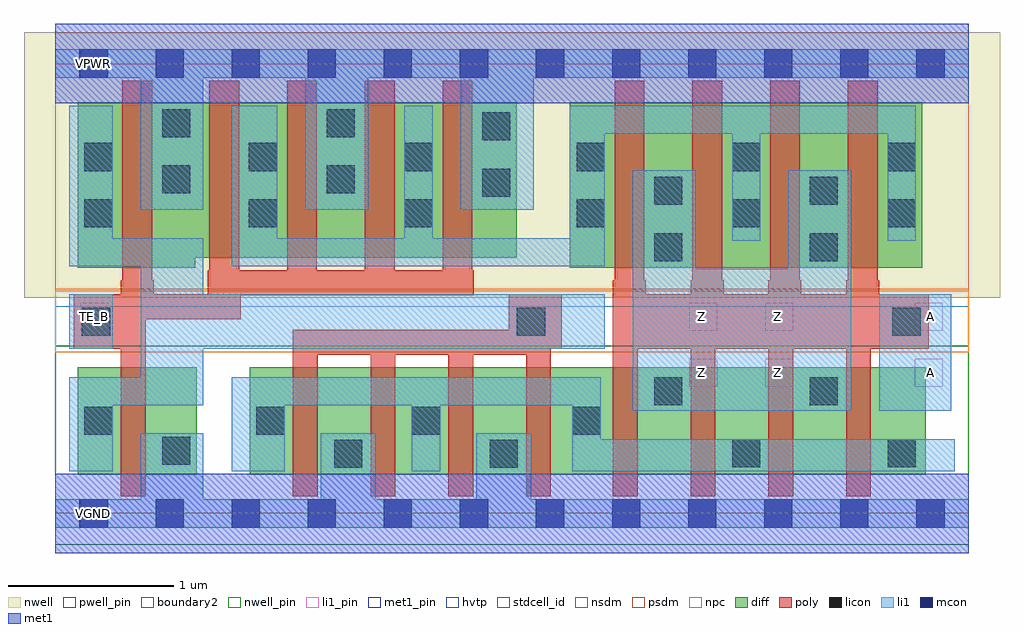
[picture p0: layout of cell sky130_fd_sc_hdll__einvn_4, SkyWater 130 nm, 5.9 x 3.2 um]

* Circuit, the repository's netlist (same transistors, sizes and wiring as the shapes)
* Copyright 2020 The SkyWater PDK Authors
*
* Licensed under the Apache License, Version 2.0 (the "License");
* you may not use this file except in compliance with the License.
* You may obtain a copy of the License at
*
*     https://www.apache.org/licenses/LICENSE-2.0
*
* Unless required by applicable law or agreed to in writing, software
* distributed under the License is distributed on an "AS IS" BASIS,
* WITHOUT WARRANTIES OR CONDITIONS OF ANY KIND, either express or implied.
* See the License for the specific language governing permissions and
* limitations under the License.
*
* SPDX-License-Identifier: Apache-2.0

.SUBCKT sky130_fd_sc_hdll__einvn_4 A TE_B VGND VNB VPB VPWR Z
*.PININFO A:I TE_B:I VGND:I VNB:I VPB:I VPWR:I Z:O
MMN0 Z A sndA VNB sky130_fd_pr__nfet_01v8 m=4 w=0.65U l=0.15U mult=1 sa=0.265 sb=0.265
+ sd=0.28 area=0.063 perim=1.14
MMN1 sndA TE VGND VNB sky130_fd_pr__nfet_01v8 m=4 w=0.65U l=0.15U mult=1 sa=0.265
+ sb=0.265 sd=0.28 area=0.063 perim=1.14
MMIN1 TE TE_B VGND VNB sky130_fd_pr__nfet_01v8 m=1 w=0.65U l=0.15U mult=1 sa=0.265
+ sb=0.265 sd=0.28 area=0.063 perim=1.14
MMP0 VPWR TE_B sndTEB VPB sky130_fd_pr__pfet_01v8_hvt m=4 w=0.94U l=0.18U mult=1
+ sa=0.265 sb=0.265 sd=0.28 area=0.063 perim=1.14
MMP1 sndTEB A Z VPB sky130_fd_pr__pfet_01v8_hvt m=4 w=1.0U l=0.18U mult=1 sa=0.265
+ sb=0.265 sd=0.28 area=0.063 perim=1.14
MMIP1 TE TE_B VPWR VPB sky130_fd_pr__pfet_01v8_hvt m=1 w=1.0U l=0.18U mult=1 sa=0.265
+ sb=0.265 sd=0.28 area=0.063 perim=1.14
.ENDS sky130_fd_sc_hdll__einvn_4

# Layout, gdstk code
import gdstk
lib = gdstk.Library(unit=1e-6, precision=1e-09)
def R(c, l, rs):  # rectangles x0, y0, x1, y1
    for r in rs: c.add(gdstk.rectangle(r[:2], r[2:], *l))
def A(c, l, x, y, w, h, nx, ny, dx, dy):  # array of equal rectangles
    R(c, l, [(x+i*dx, y+j*dy, x+i*dx+w, y+j*dy+h) for i in range(nx) for j in range(ny)])
def P(c, l, *ps):  # polygons
    for p in ps: c.add(gdstk.Polygon(p, *l))
nwell_pin = (64, 16)
nwell = (64, 20)
diff = (65, 20)
poly = (66, 20)
licon = (66, 44)
li1_pin = (67, 16)
li1 = (67, 20)
mcon = (67, 44)
met1_pin = (68, 16)
met1 = (68, 20)
hvtp = (78, 44)
stdcell_id = (81, 4)
nsdm = (93, 44)
psdm = (94, 20)
npc = (95, 20)
pwell_pin = (122, 16)
boundary2 = (236, 0)

sky130_fd_sc_hdll__einvn = lib.new_cell('sky130_fd_sc_hdll__einvn_4')
R(sky130_fd_sc_hdll__einvn, nwell_pin, [(0.15,2.635,0.32,2.805)])
R(sky130_fd_sc_hdll__einvn, nwell, [(-0.19,1.305,5.71,2.91)])
R(sky130_fd_sc_hdll__einvn, diff, [(0.135,0.235,0.855,0.885), (1.175,0.235,5.26,0.885), (3.11,1.485,5.24,2.485)])
P(sky130_fd_sc_hdll__einvn, diff, [(2.79,2.485),(0.135,2.485),(0.135,1.485),(0.845,1.485),(0.845,1.545),(2.79,1.545)])
P(sky130_fd_sc_hdll__einvn, poly, [(2.53,1.47),(2.52,1.47),(2.52,2.615),(2.34,2.615),(2.34,1.47),(2.05,1.47),(2.05,2.615),(1.87,2.615),(1.87,1.47),(1.58,1.47),(1.58,2.615),(1.4,2.615),(1.4,1.47),(1.11,1.47),(1.11,2.615),(0.93,2.615),(0.93,1.47),(0.92,1.47),(0.92,1.325),(0.595,1.325),(0.595,1.41),(0.585,1.41),(0.585,2.615),(0.405,2.615),(0.405,1.41),(0.395,1.41),(0.395,1.325),(0.11,1.325),(0.11,0.995),(0.395,0.995),(0.395,0.105),(0.545,0.105),(0.545,1.175),(1.12,1.175),(1.12,1.32),(2.53,1.32)],
  [(3.06,1.325),(2.74,1.325),(2.74,1.11),(1.435,1.11),(1.435,0.105),(1.585,0.105),(1.585,0.96),(1.905,0.96),(1.905,0.105),(2.055,0.105),(2.055,0.96),(2.375,0.96),(2.375,0.105),(2.525,0.105),(2.525,0.96),(2.845,0.96),(2.845,0.105),(2.995,0.105),(2.995,0.995),(3.06,0.995)],
  [(5.28,1.325),(4.98,1.325),(4.98,1.41),(4.97,1.41),(4.97,2.615),(4.79,2.615),(4.79,1.41),(4.78,1.41),(4.78,1.325),(4.51,1.325),(4.51,1.41),(4.5,1.41),(4.5,2.615),(4.32,2.615),(4.32,1.41),(4.31,1.41),(4.31,1.325),(4.04,1.325),(4.04,1.41),(4.03,1.41),(4.03,2.615),(3.85,2.615),(3.85,1.41),(3.84,1.41),(3.84,1.325),(3.57,1.325),(3.57,1.41),(3.56,1.41),(3.56,2.615),(3.38,2.615),(3.38,1.41),(3.37,1.41),(3.37,0.105),(3.52,0.105),(3.52,0.995),(3.84,0.995),(3.84,0.105),(3.99,0.105),(3.99,0.995),(4.31,0.995),(4.31,0.105),(4.46,0.105),(4.46,0.995),(4.78,0.995),(4.78,0.105),(4.93,0.105),(4.93,0.995),(5.28,0.995)])
A(sky130_fd_sc_hdll__einvn, licon, 3.15, 1.73, 0.17, 0.17, 3, 2, 0.94, 0.34)
R(sky130_fd_sc_hdll__einvn, licon, [(1.685,0.275,1.855,0.445), (2.625,0.275,2.795,0.445), (4.09,0.28,4.26,0.45), (5.03,0.28,5.2,0.45), (0.645,0.295,0.815,0.465), (0.175,0.475,0.345,0.645), (1.215,0.475,1.385,0.645), (2.155,0.475,2.325,0.645), (3.125,0.475,3.295,0.645), (3.62,0.655,3.79,0.825), (4.56,0.655,4.73,0.825), (0.16,1.075,0.33,1.245), (2.79,1.075,2.96,1.245), (5.06,1.075,5.23,1.245), (3.62,1.525,3.79,1.695), (4.56,1.525,4.73,1.695), (0.175,1.73,0.345,1.9), (1.17,1.73,1.34,1.9), (2.11,1.73,2.28,1.9), (3.62,1.865,3.79,2.035), (4.56,1.865,4.73,2.035), (2.58,1.915,2.75,2.085), (0.645,1.935,0.815,2.105), (1.64,1.935,1.81,2.105), (0.175,2.07,0.345,2.24), (1.17,2.07,1.34,2.24), (2.11,2.07,2.28,2.24), (2.58,2.255,2.75,2.425), (0.645,2.275,0.815,2.445), (1.64,2.275,1.81,2.445)])
R(sky130_fd_sc_hdll__einvn, li1_pin, [(3.83,0.765,4,0.935), (4.29,0.765,4.46,0.935), (5.195,0.765,5.365,0.935), (0.15,1.105,0.32,1.275), (3.83,1.105,4,1.275), (4.29,1.105,4.46,1.275), (5.195,1.105,5.365,1.275)])
R(sky130_fd_sc_hdll__einvn, li1, [(4.98,0.62,5.415,1.325), (0.085,0.995,0.345,1.325)])
P(sky130_fd_sc_hdll__einvn, li1, [(5.52,2.805),(0,2.805),(0,2.635),(0.515,2.635),(0.515,1.835),(0.895,1.835),(0.895,2.635),(1.51,2.635),(1.51,1.835),(1.89,1.835),(1.89,2.635),(2.45,2.635),(2.45,1.835),(2.89,1.835),(2.89,2.635),(5.52,2.635)],
  [(5.435,0.45),(3.295,0.45),(3.295,0.825),(1.065,0.825),(1.065,0.255),(1.385,0.255),(1.385,0.655),(2.155,0.655),(2.155,0.255),(2.325,0.255),(2.325,0.655),(3.125,0.655),(3.125,0.255),(5.435,0.255)],
  [(4.81,2.075),(4.43,2.075),(4.43,1.48),(3.87,1.48),(3.87,2.075),(3.49,2.075),(3.49,0.62),(4.81,0.62)],
  [(5.2,2.465),(3.11,2.465),(3.11,1.665),(2.28,1.665),(2.28,2.465),(2.11,2.465),(2.11,1.665),(1.34,1.665),(1.34,2.465),(1.065,2.465),(1.065,1.495),(3.32,1.495),(3.32,2.295),(4.09,2.295),(4.09,1.65),(4.26,1.65),(4.26,2.295),(5.03,2.295),(5.03,1.65),(5.2,1.65)],
  [(3.32,1.325),(0.895,1.325),(0.895,1.665),(0.345,1.665),(0.345,2.465),(0.085,2.465),(0.085,1.495),(0.515,1.495),(0.515,0.825),(0.085,0.825),(0.085,0.255),(0.345,0.255),(0.345,0.655),(0.895,0.655),(0.895,0.995),(3.32,0.995)],
  [(5.52,0.085),(2.875,0.085),(2.875,0.485),(2.545,0.485),(2.545,0.085),(1.935,0.085),(1.935,0.485),(1.605,0.485),(1.605,0.085),(0.895,0.085),(0.895,0.485),(0.515,0.485),(0.515,0.085),(0,0.085),(0,-0.085),(5.52,-0.085)])
A(sky130_fd_sc_hdll__einvn, mcon, 0.145, -0.085, 0.17, 0.17, 12, 2, 0.46, 2.72)
R(sky130_fd_sc_hdll__einvn, met1_pin, [(0.15,-0.085,0.32,0.085), (0.15,2.635,0.32,2.805)])
R(sky130_fd_sc_hdll__einvn, met1, [(0,-0.24,5.52,0.24), (0,2.48,5.52,2.96)])
R(sky130_fd_sc_hdll__einvn, hvtp, [(0,1.25,5.52,2.72)])
R(sky130_fd_sc_hdll__einvn, stdcell_id, [(0,0,5.52,2.72)])
R(sky130_fd_sc_hdll__einvn, nsdm, [(0,-0.19,5.52,1.015)])
R(sky130_fd_sc_hdll__einvn, psdm, [(0,1.355,5.52,2.91)])
R(sky130_fd_sc_hdll__einvn, npc, [(0,0.975,5.52,1.345)])
R(sky130_fd_sc_hdll__einvn, pwell_pin, [(0.15,-0.085,0.32,0.085)])
R(sky130_fd_sc_hdll__einvn, boundary2, [(0,0,5.52,2.72)])
sky130_fd_sc_hdll__einvn.add(gdstk.Label('TE_B', (0.235,1.19), layer=67, texttype=5))
sky130_fd_sc_hdll__einvn.add(gdstk.Label('Z', (4.365,0.85), layer=67, texttype=5))
sky130_fd_sc_hdll__einvn.add(gdstk.Label('Z', (4.365,1.19), layer=67, texttype=5))
sky130_fd_sc_hdll__einvn.add(gdstk.Label('Z', (3.905,1.19), layer=67, texttype=5))
sky130_fd_sc_hdll__einvn.add(gdstk.Label('Z', (3.905,0.85), layer=67, texttype=5))
sky130_fd_sc_hdll__einvn.add(gdstk.Label('A', (5.29,0.85), layer=67, texttype=5))
sky130_fd_sc_hdll__einvn.add(gdstk.Label('A', (5.29,1.19), layer=67, texttype=5))
sky130_fd_sc_hdll__einvn.add(gdstk.Label('VGND', (0.23,0), layer=68, texttype=5))
sky130_fd_sc_hdll__einvn.add(gdstk.Label('VPWR', (0.23,2.72), layer=68, texttype=5))
sky130_fd_sc_hdll__einvn.add(gdstk.Label('VPB', (0.235,2.72), layer=64, texttype=5))
sky130_fd_sc_hdll__einvn.add(gdstk.Label('VNB', (0.235,0), layer=64, texttype=59))
sky130_fd_sc_hdll__einvn.add(gdstk.Label('einvn_4', (0,0), layer=83, texttype=44))

lib.write_gds('sky130_fd_sc_hdll__einvn_4.gds')
